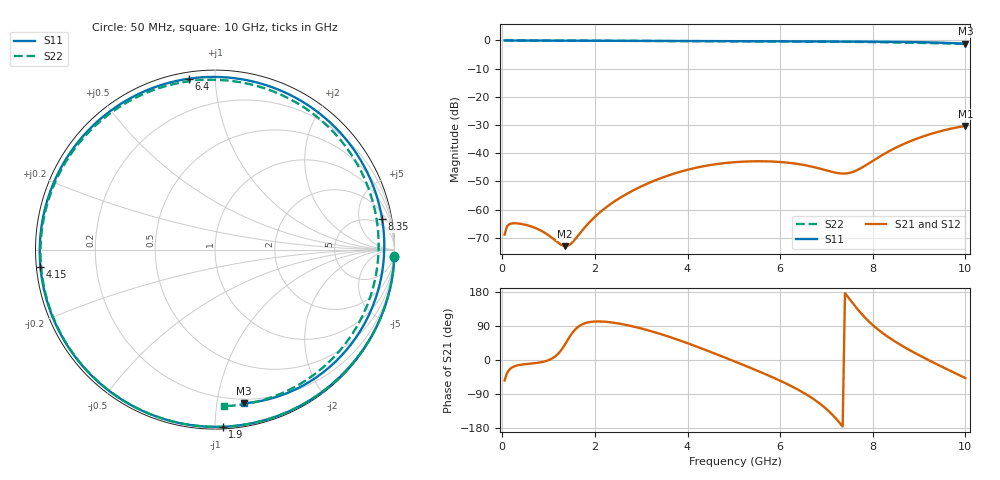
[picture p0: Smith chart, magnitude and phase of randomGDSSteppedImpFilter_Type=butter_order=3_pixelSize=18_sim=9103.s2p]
! freq	dB(S11)	phase(S11)	dB(S12)	phase(S12)
!  dB(S21)	phase(S21)	dB(S22)	phase(S22)
!S-par simulation data
#  GHz  S  DB  R 50
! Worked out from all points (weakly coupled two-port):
!   200 points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, 50 MHz to 10 GHz, reference 50 ohm
!   highest |S21| = -30.32 dB at 10 GHz (marker M1); lowest = -72.9 dB at 1.35 GHz (marker M2)
!   lowest |S11| = -1.2 dB at 10 GHz (marker M3), VSWR 14.55, Z = 8.35 - j59.5 ohm
!   |S11| at or under -10 dB: nowhere
!   |S22| runs from -1.2 to 0.0 dB; largest |S21 - S12| = 0
!   S11 on the Smith chart (normalised r, x): 50 MHz: 0, -47; 1.9 GHz: 0.01, -1.04; 4.15 GHz: 0.01, -0.05; 6.4 GHz: 0.03, +0.86; 8.35 GHz: 3, +10; 10 GHz: 0.17, -1.19
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0.05  -0.00 -2.4  -68.83 -54.2  -68.83 -54.2  -0.00 -2.0
0.15  -0.00 -7.3  -65.16 -25.7  -65.16 -25.7  -0.00 -6.1
0.45  -0.02 -21.8  -65.16 -11.6  -65.16 -11.6  -0.01 -18.3
1.35  -0.08 -63.7  -72.93 40.3  -72.93 40.3  -0.07 -53.6
1.5  -0.09 -70.3  -71.80 69.5  -71.80 69.5  -0.07 -59.2
1.75  -0.10 -81.2  -66.90 95.3  -66.90 95.3  -0.08 -68.4
1.9  -0.10 -87.6  -64.15 100.3  -64.15 100.3  -0.09 -73.9
2.6  -0.13 -116.1  -55.23 94.3  -55.23 94.3  -0.12 -98.3
3.4  -0.17 -146.7  -48.96 69.2  -48.96 69.2  -0.15 -124.5
4.15  -0.20 -174.4  -45.26 37.6  -45.26 37.6  -0.18 -148.0
5.05  -0.25 152.2  -43.11 -5.4  -43.11 -5.4  -0.24 -176.3
5.75  -0.29 125.2  -42.88 -41.0  -42.88 -41.0  -0.29 160.4
6.4  -0.33 98.6  -43.83 -79.2  -43.83 -79.2  -0.35 136.4
6.7  -0.34 85.8  -44.79 -101.3  -44.79 -101.3  -0.38 124.2
7.3  -0.38 59.3  -47.14 -168.2  -47.14 -168.2  -0.46 96.6
7.6  -0.40 45.6  -46.43 144.8  -46.43 144.8  -0.51 80.8
8  -0.43 27.0  -42.69 92.1  -42.69 92.1  -0.59 57.5
8.35  -0.48 10.3  -39.28 59.2  -39.28 59.2  -0.67 34.7
8.75  -0.55 -9.3  -36.12 29.3  -36.12 29.3  -0.78 6.3
9.1  -0.64 -27.1  -33.95 6.3  -33.95 6.3  -0.89 -20.0
9.55  -0.83 -51.5  -31.80 -21.2  -31.80 -21.2  -1.03 -54.1
10  -1.20 -79.5  -30.32 -47.7  -30.32 -47.7  -1.17 -86.8
